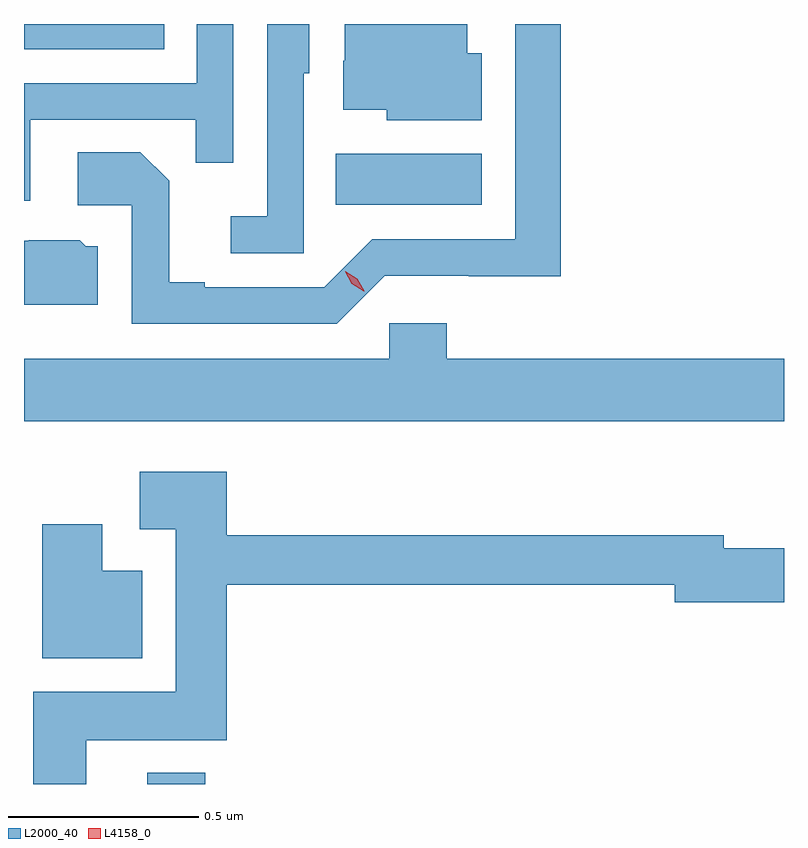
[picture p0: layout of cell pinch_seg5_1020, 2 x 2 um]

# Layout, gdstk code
import gdstk
lib = gdstk.Library(unit=1e-6, precision=1e-09)
def R(c, l, rs):  # rectangles x0, y0, x1, y1
    for r in rs: c.add(gdstk.rectangle(r[:2], r[2:], *l))
def P(c, l, *ps):  # polygons
    for p in ps: c.add(gdstk.Polygon(p, *l))
L2000_40 = (2000, 40)
L4158_0 = (4158, 0)

pinch_seg5_1020 = lib.new_cell('pinch_seg5_1020')
R(pinch_seg5_1020, L2000_40, [(738.491,895.765,738.644,895.795), (738.988,897.29,739.372,897.424), (738.167,897.699,738.536,897.765)])
P(pinch_seg5_1020, L2000_40, [(739.116,897.102),(739.338,897.102),(739.338,897.101),(739.579,897.101),(739.579,897.765),(739.46,897.765),(739.46,897.198),(739.083,897.198),(738.957,897.072),(738.643,897.072),(738.643,897.085),(738.549,897.085),(738.549,897.352),(738.473,897.428),(738.309,897.428),(738.309,897.288),(738.45,897.288),(738.45,896.976),(738.99,896.976)],
  [(738.903,897.636),(738.918,897.636),(738.918,897.765),(738.807,897.765),(738.807,897.259),(738.711,897.259),(738.711,897.162),(738.903,897.162)],
  [(738.183,897.513),(738.619,897.513),(738.619,897.4),(738.717,897.4),(738.717,897.765),(738.621,897.765),(738.621,897.609),(738.167,897.609),(738.167,897.3),(738.183,897.3)],
  [(739.372,897.688),(739.333,897.688),(739.333,897.765),(739.011,897.765),(739.011,897.668),(739.007,897.668),(739.007,897.539),(739.122,897.539),(739.122,897.512),(739.372,897.512)],
  [(738.361,897.18),(738.33,897.18),(738.314,897.196),(738.18,897.196),(738.18,897.195),(738.167,897.195),(738.167,897.026),(738.361,897.026)],
  [(740.167,896.884),(739.28,896.884),(739.28,896.977),(739.128,896.977),(739.128,896.884),(738.167,896.884),(738.167,896.72),(740.167,896.72)],
  [(738.331,895.88),(738.701,895.88),(738.701,896.29),(739.88,896.29),(739.88,896.243),(740.167,896.243),(740.167,896.385),(740.008,896.385),(740.008,896.419),(738.701,896.419),(738.701,896.587),(738.471,896.587),(738.471,896.435),(738.566,896.435),(738.566,896.008),(738.191,896.008),(738.191,895.765),(738.331,895.765)],
  [(738.478,896.326),(738.373,896.326),(738.373,896.449),(738.215,896.449),(738.215,896.096),(738.478,896.096)])
P(pinch_seg5_1020, L4158_0, [(739.061,897.062),(739.03,897.081),(739.012,897.113),(739.012,897.114),(739.013,897.114),(739.044,897.095),(739.062,897.063),(739.062,897.062)])

lib.write_gds('pinch_seg5_1020.gds')
